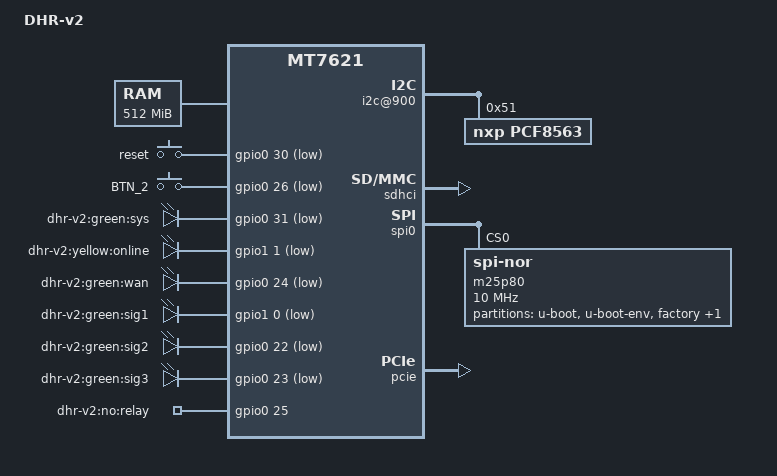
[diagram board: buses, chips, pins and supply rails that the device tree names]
/dts-v1/;

#include "mt7621.dtsi"

#include <dt-bindings/gpio/gpio.h>
#include <dt-bindings/input/input.h>

/ {
	compatible = "dhitek,dhr-v2", "mediatek,mt7621-soc";
	model = "DHR-v2";

	memory@0 {
		device_type = "memory";
		reg = <0x0 0x1c000000>, <0x20000000 0x4000000>;
	};

	chosen {
		bootargs = "console=ttyS0,115200";
	};

	palmbus: palmbus@1E000000 {
		i2c@900 {
			status = "okay";
			pcf8563: rtc@51 {
				status = "okay";
				compatible = "nxp,pcf8563";
				reg = <0x51>;
			};
		};
	};

	gpio-keys-polled {
		compatible = "gpio-keys-polled";
		#address-cells = <1>;
		#size-cells = <0>;
		poll-interval = <20>;

		reset {
			label = "reset";
			gpios = <&gpio0 30 GPIO_ACTIVE_LOW>;
			linux,code = <KEY_RESTART>;
		};
		BTN_2 {
			label = "BTN_2";
			gpios = <&gpio0 26 1>;
			linux,code = <BTN_2>;
		};
	};

	gpio-leds {
		compatible = "gpio-leds";

		sys {
			label = "dhr-v2:green:sys";
			gpios = <&gpio0 31 GPIO_ACTIVE_LOW>;
		};
		online {
			label = "dhr-v2:yellow:online";
			gpios = <&gpio1 1 GPIO_ACTIVE_LOW>;
		};
		wan {
			label = "dhr-v2:green:wan";
			gpios = <&gpio0 24 GPIO_ACTIVE_LOW>;
		};
		sig1 {
			label = "dhr-v2:green:sig1";
			gpios = <&gpio1 0 GPIO_ACTIVE_LOW>;
		};
		sig2 {
			label = "dhr-v2:green:sig2";
			gpios = <&gpio0 22 GPIO_ACTIVE_LOW>;
		};
		sig3 {
			label = "dhr-v2:green:sig3";
			gpios = <&gpio0 23 GPIO_ACTIVE_LOW>;
		};
		relay {
			label = "dhr-v2:no:relay";
			gpios = <&gpio0 25 GPIO_ACTIVE_HIGH>;
		};
	};
};

&sdhci {
	status = "okay";
};

&spi0 {
	status = "okay";

	m25p80@0 {
		#address-cells = <1>;
		#size-cells = <1>;
		compatible = "jedec,spi-nor";
		reg = <0>;
		spi-max-frequency = <10000000>;
		m25p,chunked-io = <32>;

		partition@0 {
			label = "u-boot";
			reg = <0x0 0x30000>;
			read-only;
		};

		partition@30000 {
			label = "u-boot-env";
			reg = <0x30000 0x10000>;
			read-only;
		};

		factory: partition@40000 {
			label = "factory";
			reg = <0x40000 0x10000>;
			read-only;
		};

		firmware: partition@50000 {
			label = "firmware";
			reg = <0x50000 0xfb0000>;
		};
	};
};

&pcie {
	status = "okay";
};

&ethernet {
	mtd-mac-address = <&factory 0x4>;
};

&pinctrl {
	state_default: pinctrl0 {
		gpio {
			ralink,group = "rgmii2", "jtag", "mdio";
			ralink,function = "gpio";
		};
	};
};
